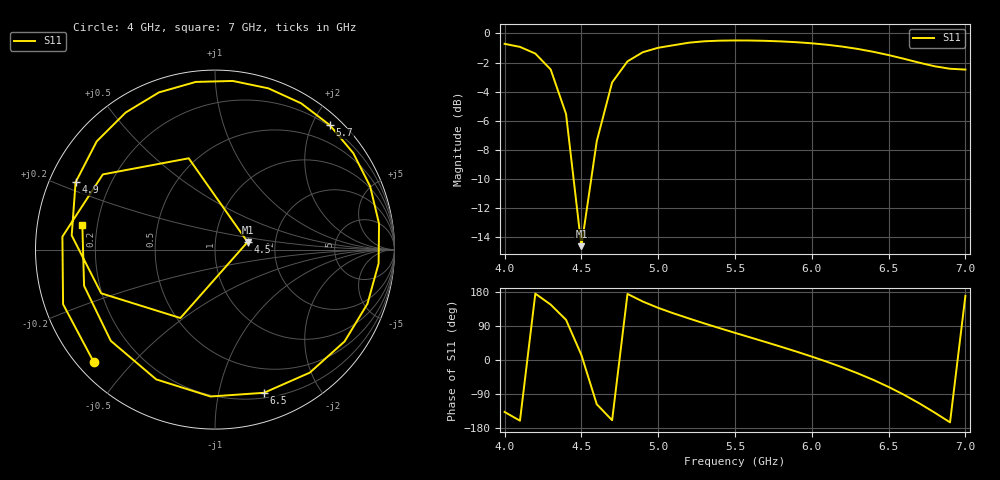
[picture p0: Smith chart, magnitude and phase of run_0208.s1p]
! Touchstone file exported from HFSS 2024.2.0
!  File:  C:/Users/wsak9/Desktop/Sim Fast/Widenad Patch/WP_AI_V1_sweep.aedt
!  Generated:  11:39:00 PM Oct 13, 2026
!  Design:  A1_model
!  Project:  WP_AI_V1_sweep
!  Setup:  Setup1
!  Solution:  Sweep
! Variables:
!  Air_gap = 2.46mm
!  Curve_Amp1 = 1.74
!  Curve_len1 = 1
!  Curve_pos = 12.605mm
!  Extra = 2.29mm
!  H_sub = 0.79mm
!  L_Patch = 21.21mm
!  L_Patch1 = 13.99mm
!  Sx = 3.19mm
!  Sy = 4.34mm
!  WS = 0.77mm
!  W_Patch = 17.93mm
!  W_Patch1 = 11.7mm
!Data is not renormalized
# GHz S MA
! Terminal data exported
! Port[1] = 1
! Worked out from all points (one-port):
!   31 points, 4 GHz to 7 GHz, reference per port
!   lowest |S11| = -14.6 dB at 4.5 GHz (marker M1), VSWR 1.46
!   |S11| at or under -10 dB: 4.449 GHz to 4.564 GHz (114.4 MHz wide, 2.54 % of centre)
!   S11 on the Smith chart (normalised r, x): 4 GHz: 0.05, -0.39; 4.5 GHz: 1.44, +0.13; 4.9 GHz: 0.08, +0.23; 5.7 GHz: 0.18, +2.27; 6.5 GHz: 0.25, -1.37; 7 GHz: 0.14, +0.09
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4  0.9214 -137.1
4.1  0.8995 -160.2
4.2  0.8532 175.1
4.3  0.7524 146.2
4.4  0.5294 106.0
4.5  0.1863 13.1
4.6  0.4272 -116.8
4.7  0.6794 -159.0
4.8  0.8023 174.4
4.9  0.8625 154.2
5  0.8933 137.5
5.1  0.9116 123.1
5.2  0.9299 109.6
5.3  0.9403 96.6
5.5  0.9464 71.7
5.7  0.9435 47.3
5.9  0.9334 22.2
6  0.9254 9.0
6.1  0.9148 -4.9
6.2  0.9014 -19.6
6.3  0.8849 -35.3
6.4  0.8654 -52.4
6.5  0.8432 -71.1
6.6  0.8188 -91.7
6.7  0.7938 -114.4
6.8  0.7717 -138.8
6.9  0.7568 -164.5
7  0.752 169.4
